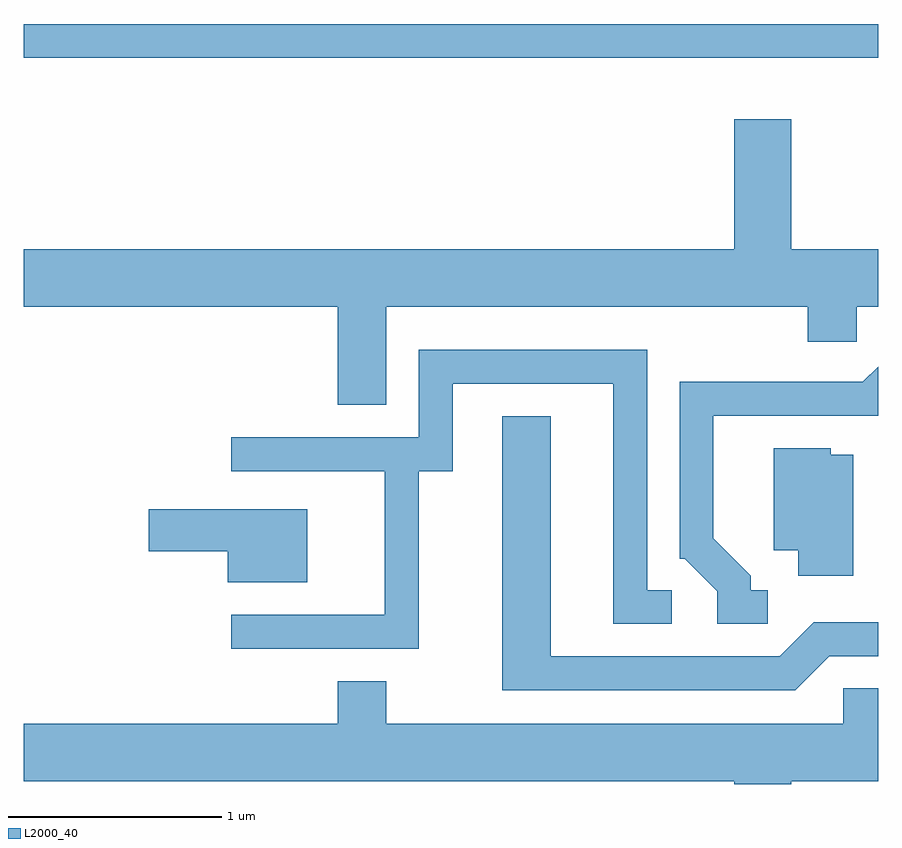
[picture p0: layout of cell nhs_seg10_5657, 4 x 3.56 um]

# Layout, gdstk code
import gdstk
lib = gdstk.Library(unit=1e-6, precision=1e-09)
def R(c, l, rs):  # rectangles x0, y0, x1, y1
    for r in rs: c.add(gdstk.rectangle(r[:2], r[2:], *l))
def P(c, l, *ps):  # polygons
    for p in ps: c.add(gdstk.Polygon(p, *l))
L2000_40 = (2000, 40)

nhs_seg10_5657 = lib.new_cell('nhs_seg10_5657')
R(nhs_seg10_5657, L2000_40, [(351.611,2163.921,355.611,2164.079)])
P(nhs_seg10_5657, L2000_40, [(351.611,2162.756),(353.081,2162.756),(353.081,2162.296),(353.309,2162.296),(353.309,2162.756),(355.281,2162.756),(355.281,2162.591),(355.509,2162.591),(355.509,2162.756),(355.611,2162.756),(355.611,2163.024),(355.204,2163.024),(355.204,2163.634),(354.936,2163.634),(354.936,2163.024),(351.611,2163.024)],
  [(353.459,2161.986),(353.619,2161.986),(353.619,2162.396),(354.371,2162.396),(354.371,2161.271),(354.643,2161.271),(354.643,2161.429),(354.529,2161.429),(354.529,2162.554),(353.461,2162.554),(353.461,2162.144),(352.583,2162.144),(352.583,2161.986),(353.301,2161.986),(353.301,2161.314),(352.583,2161.314),(352.583,2161.156),(353.459,2161.156)],
  [(355.093,2161.429),(355.014,2161.429),(355.014,2161.497),(354.839,2161.672),(354.839,2162.246),(355.611,2162.246),(355.611,2162.476),(355.539,2162.404),(354.681,2162.404),(354.681,2161.576),(354.704,2161.576),(354.856,2161.424),(354.856,2161.271),(355.093,2161.271)],
  [(355.382,2161.121),(355.611,2161.121),(355.611,2161.279),(355.309,2161.279),(355.149,2161.119),(354.079,2161.119),(354.079,2162.244),(353.851,2162.244),(353.851,2160.961),(355.222,2160.961)],
  [(355.494,2162.064),(355.389,2162.064),(355.389,2162.094),(355.121,2162.094),(355.121,2161.616),(355.236,2161.616),(355.236,2161.496),(355.494,2161.496)],
  [(352.939,2161.809),(352.196,2161.809),(352.196,2161.611),(352.566,2161.611),(352.566,2161.466),(352.939,2161.466)],
  [(355.204,2160.536),(355.611,2160.536),(355.611,2160.969),(355.446,2160.969),(355.446,2160.804),(353.309,2160.804),(353.309,2161.004),(353.081,2161.004),(353.081,2160.804),(351.611,2160.804),(351.611,2160.536),(354.936,2160.536),(354.936,2160.522),(355.204,2160.522)])

lib.write_gds('nhs_seg10_5657.gds')
